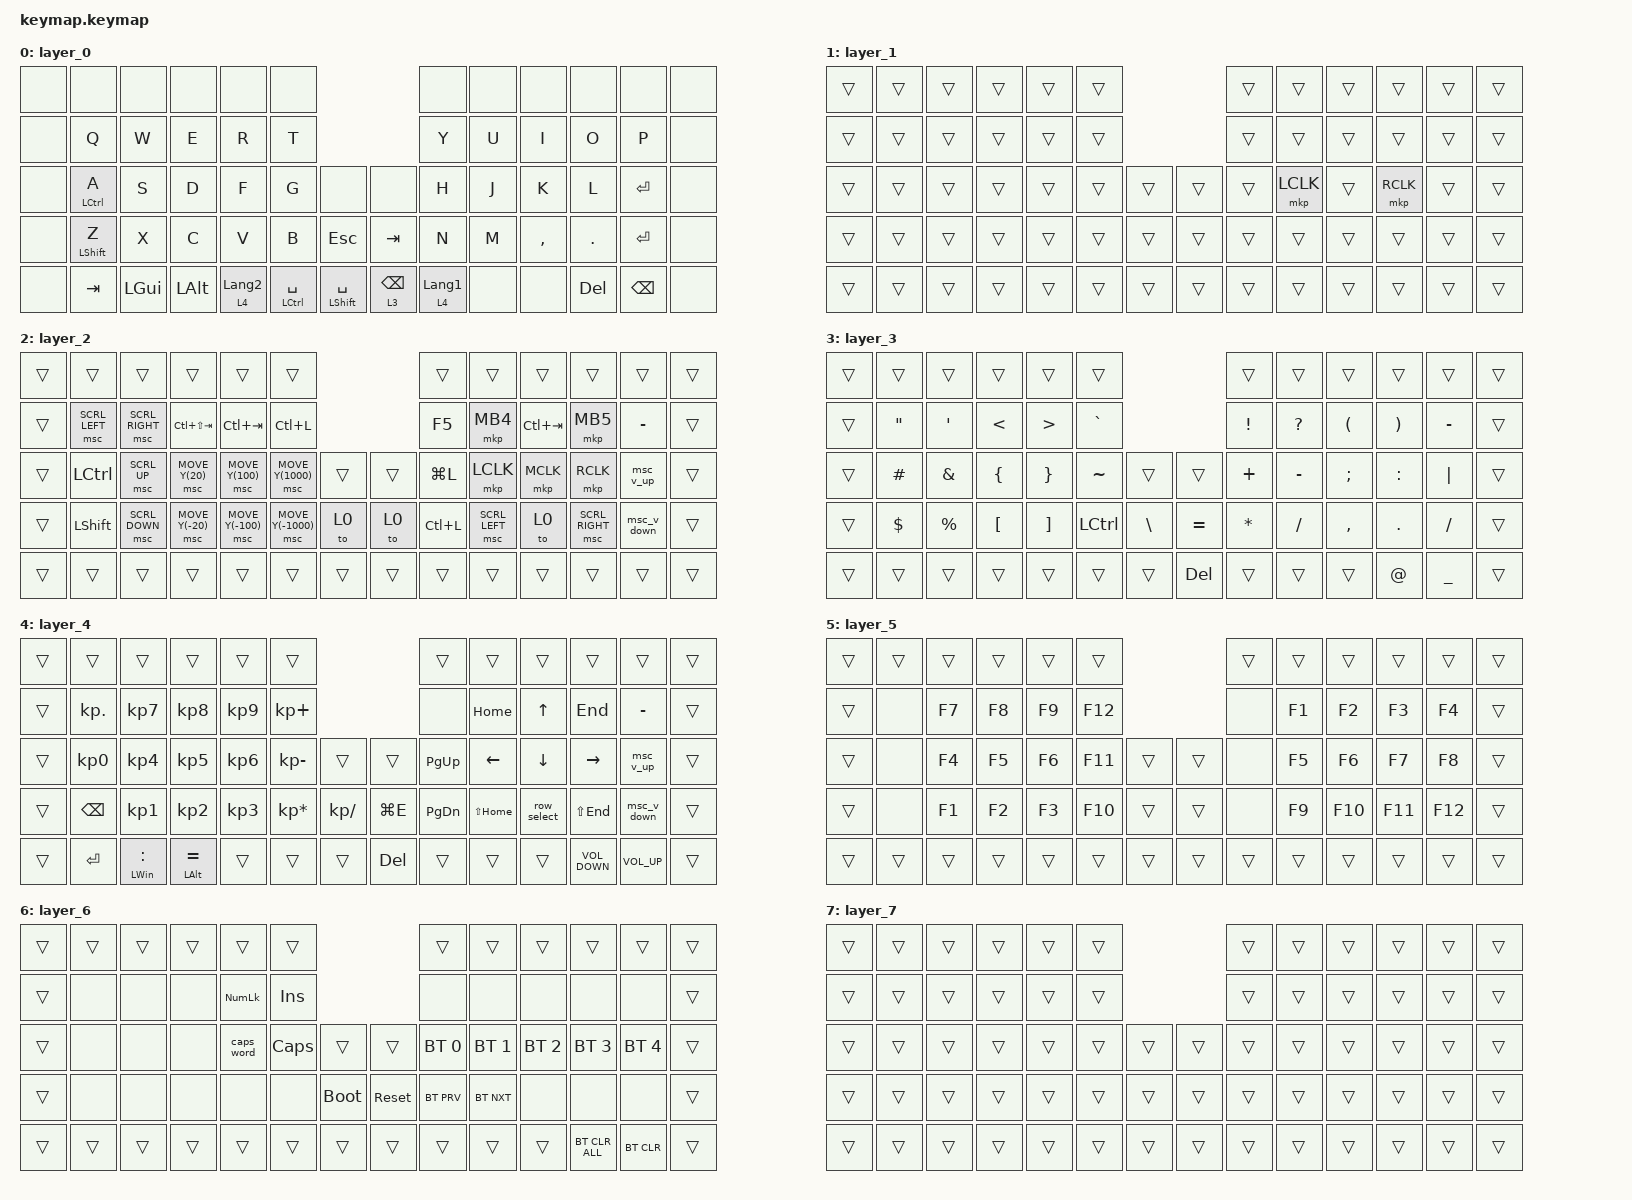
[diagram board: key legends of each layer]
#include <input/processors.dtsi>
#include <dt-bindings/zmk/input_transform.h>
#include <behaviors.dtsi>
#include <dt-bindings/zmk/bt.h>
#include <dt-bindings/zmk/keys.h>
#include <dt-bindings/zmk/pointing.h>

// オートマウスレイヤーの設定

&mkp_input_listener { input-processors = <&zip_temp_layer 1 500>; };

// オートマウスレイヤーの除外キーポジション設定

&zip_temp_layer {
    excluded-positions = <
        // 20 // I
        33 // J
        34 // K
        35 // L
        // 48 // ,
        // 50 // Back Space
        // 56 // space left1
        // 57 // space left2
        // 58 // space left3
    >;
};

// トラックボールの設定

&trackball_listener {
    input-processors =
        <&zip_xy_transform (INPUT_TRANSFORM_X_INVERT | INPUT_TRANSFORM_Y_INVERT)>,
        <&zip_temp_layer 1 2000>;

    // 通常スクロール

    scroll_normal {
        layers = <7>;
        input-processors =
            <&zip_xy_transform (INPUT_TRANSFORM_X_INVERT)>,
            <&zip_xy_to_scroll_mapper>,
            <&zip_scroll_scaler 1 6>;
    };
};

// &ltの誤動作防止設定

&lt {
    tapping-term-ms = <240>;    /* 単発：<msec>待ったらレイヤーにする */
    quick-tap-ms = <200>;       /* 連打：<msec>以内に2回目を叩いたら即スペースにする */
    flavor = "tap-preferred";   /* 判定：時間内ならタップを優先する */
};

// &mtの誤動作防止設定

&mt {
    tapping-term-ms = <240>;    /* 単発：<msec>待ったらレイヤーにする */
    quick-tap-ms = <200>;       /* 連打：<msec>以内に2回目を叩いたら即スペースにする */
    flavor = "tap-preferred";   /* 判定：時間内ならタップを優先する */
};

/ {
    combos {
        compatible = "zmk,combos";

        Function_layer {
            bindings = <&mo 5>;
            key-positions = <57 56>;
        };

        mouse_button {
            bindings = <&mo 2>;
            key-positions = <59 60>;
        };

        bluetooth_layer {
            bindings = <&mo 6>;
            key-positions = <57 58 59>;
        };

        mo_scroll_layer {
            bindings = <&mo 7>;
            key-positions = <34 35>;
            timeout-ms = <75>;
            require-prior-idle-ms = <150>;
            slow-release;
        };
    };

    macros {
        row_select: row_select {
            compatible = "zmk,behavior-macro";
            #binding-cells = <0>;
            bindings = <&kp HOME &kp LS(END)>;
            label = "ROW_SELECT";
        };
    };

    behaviors {
        lt_to: lt_to {
            compatible = "zmk,behavior-hold-tap";
            label = "LT_TO";
            #binding-cells = <2>;
            bindings = <&mo>, <&to>;

            tapping-term-ms = <240>;
            flavor = "balanced";
        };

        hm: hm {
            compatible = "zmk,behavior-hold-tap";
            label = "HM";
            bindings = <&kp>, <&kp>;

            #binding-cells = <2>;
            tapping-term-ms = <280>;
            quick-tap-ms = <175>;
            require-prior-idle-ms = <150>;
            flavor = "tap-preferred";
        };

        msc_v_up: msc_v_up {
            compatible = "zmk,behavior-mod-morph";
            label = "MSC_V_UP";
            bindings = <&msc MOVE_Y(20)>, <&msc MOVE_Y(10)>;

            #binding-cells = <0>;
            mods = <(MOD_LSFT|MOD_RSFT)>;
        };

        msc_v_down: msc_v_down {
            compatible = "zmk,behavior-mod-morph";
            label = "MSC_V_DOWN";
            bindings = <&msc MOVE_Y(-20)>, <&msc MOVE_Y(-10)>;

            #binding-cells = <0>;
            mods = <(MOD_LSFT|MOD_RSFT)>;
        };
    };

    keymap {
        compatible = "zmk,keymap";

        layer_0 {
            bindings = <
&none  &none         &none     &none     &none             &none                                                   &none             &none  &none      &none       &none          &none
&none  &kp Q         &kp W     &kp E     &kp R             &kp T                                                   &kp Y             &kp U  &kp I      &kp O       &kp P          &none
&none  &hm LCTRL A   &kp S     &kp D     &kp F             &kp G            &none                 &none            &kp H             &kp J  &kp K      &kp L       &kp ENTER      &none
&none  &hm LSHIFT Z  &kp X     &kp C     &kp V             &kp B            &kp ESCAPE            &kp TAB          &kp N             &kp M  &kp COMMA  &kp DOT     &kp ENTER      &none
&none  &kp TAB       &kp LGUI  &kp LALT  &lt 4 LANGUAGE_2  &mt LCTRL SPACE  &mt LEFT_SHIFT SPACE  &lt 3 BACKSPACE  &lt 4 LANGUAGE_1  &none  &none      &kp DELETE  &kp BACKSPACE  &none
            >;
        };

        layer_1 {
            bindings = <
&trans  &trans  &trans  &trans  &trans  &trans                  &trans  &trans     &trans  &trans     &trans  &trans
&trans  &trans  &trans  &trans  &trans  &trans                  &trans  &trans     &trans  &trans     &trans  &trans
&trans  &trans  &trans  &trans  &trans  &trans  &trans  &trans  &trans  &mkp LCLK  &trans  &mkp RCLK  &trans  &trans
&trans  &trans  &trans  &trans  &trans  &trans  &trans  &trans  &trans  &trans     &trans  &trans     &trans  &trans
&trans  &trans  &trans  &trans  &trans  &trans  &trans  &trans  &trans  &trans     &trans  &trans     &trans  &trans
            >;
        };

        layer_2 {
            bindings = <
&trans  &trans          &trans           &trans            &trans             &trans                              &trans     &trans          &trans       &trans           &trans       &trans
&trans  &msc SCRL_LEFT  &msc SCRL_RIGHT  &kp LC(LS(TAB))   &kp LC(TAB)        &kp LC(L)                           &kp F5     &mkp MB4        &kp LC(TAB)  &mkp MB5         &kp MINUS    &trans
&trans  &kp LCTRL       &msc SCRL_UP     &msc MOVE_Y(20)   &msc MOVE_Y(100)   &msc MOVE_Y(1000)   &trans  &trans  &kp LG(L)  &mkp LCLK       &mkp MCLK    &mkp RCLK        &msc_v_up    &trans
&trans  &kp LSHIFT      &msc SCRL_DOWN   &msc MOVE_Y(-20)  &msc MOVE_Y(-100)  &msc MOVE_Y(-1000)  &to 0   &to 0   &kp LC(L)  &msc SCRL_LEFT  &to 0        &msc SCRL_RIGHT  &msc_v_down  &trans
&trans  &trans          &trans           &trans            &trans             &trans              &trans  &trans  &trans     &trans          &trans       &trans           &trans       &trans
            >;
        };

        layer_3 {
            bindings = <
&trans  &trans             &trans         &trans            &trans             &trans                                &trans           &trans        &trans                &trans                 &trans          &trans
&trans  &kp DOUBLE_QUOTES  &kp SQT        &kp LESS_THAN     &kp GREATER_THAN   &kp GRAVE                             &kp EXCLAMATION  &kp QUESTION  &kp LEFT_PARENTHESIS  &kp RIGHT_PARENTHESIS  &kp MINUS       &trans
&trans  &kp HASH           &kp AMPERSAND  &kp LEFT_BRACE    &kp RIGHT_BRACE    &kp TILDE  &trans         &trans      &kp PLUS         &kp MINUS     &kp SEMICOLON         &kp COLON              &kp PIPE        &trans
&trans  &kp DOLLAR         &kp PERCENT    &kp LEFT_BRACKET  &kp RIGHT_BRACKET  &kp LCTRL  &kp BACKSLASH  &kp EQUAL   &kp ASTERISK     &kp SLASH     &kp COMMA             &kp PERIOD             &kp SLASH       &trans
&trans  &trans             &trans         &trans            &trans             &trans     &trans         &kp DELETE  &trans           &trans        &trans                &kp AT_SIGN            &kp UNDERSCORE  &trans
            >;
        };

        layer_4 {
            bindings = <
&trans  &trans           &trans              &trans              &trans           &trans                                     &trans         &trans        &trans          &trans             &trans           &trans
&trans  &kp KP_DOT       &kp KP_NUMBER_7     &kp KP_NUMBER_8     &kp KP_NUMBER_9  &kp KP_PLUS                                &none          &kp HOME      &kp UP          &kp END            &kp MINUS        &trans
&trans  &kp KP_NUMBER_0  &kp KP_NUMBER_4     &kp KP_NUMBER_5     &kp KP_NUMBER_6  &kp KP_MINUS     &trans        &trans      &kp PAGE_UP    &kp LEFT      &kp DOWN_ARROW  &kp RIGHT          &msc_v_up        &trans
&trans  &kp BACKSPACE    &kp KP_NUMBER_1     &kp KP_NUMBER_2     &kp KP_NUMBER_3  &kp KP_ASTERISK  &kp KP_SLASH  &kp LG(E)   &kp PAGE_DOWN  &kp LS(HOME)  &row_select     &kp LS(END)        &msc_v_down      &trans
&trans  &kp ENTER        &mt LEFT_WIN COLON  &mt LEFT_ALT EQUAL  &trans           &trans           &trans        &kp DELETE  &trans         &trans        &trans          &kp C_VOLUME_DOWN  &kp C_VOLUME_UP  &trans
            >;
        };

        layer_5 {
            bindings = <
&trans  &trans  &trans  &trans  &trans  &trans                   &trans  &trans  &trans   &trans   &trans   &trans
&trans  &none   &kp F7  &kp F8  &kp F9  &kp F12                  &none   &kp F1  &kp F2   &kp F3   &kp F4   &trans
&trans  &none   &kp F4  &kp F5  &kp F6  &kp F11  &trans  &trans  &none   &kp F5  &kp F6   &kp F7   &kp F8   &trans
&trans  &none   &kp F1  &kp F2  &kp F3  &kp F10  &trans  &trans  &none   &kp F9  &kp F10  &kp F11  &kp F12  &trans
&trans  &trans  &trans  &trans  &trans  &trans   &trans  &trans  &trans  &trans  &trans   &trans   &trans   &trans
            >;
        };

        layer_6 {
            bindings = <
&trans  &trans  &trans  &trans  &trans          &trans                                 &trans        &trans        &trans        &trans          &trans        &trans
&trans  &none   &none   &none   &kp KP_NUMLOCK  &kp INSERT                             &none         &none         &none         &none           &none         &trans
&trans  &none   &none   &none   &caps_word      &kp CAPSLOCK  &trans       &trans      &bt BT_SEL 0  &bt BT_SEL 1  &bt BT_SEL 2  &bt BT_SEL 3    &bt BT_SEL 4  &trans
&trans  &none   &none   &none   &none           &none         &bootloader  &sys_reset  &bt BT_PRV    &bt BT_NXT    &none         &none           &none         &trans
&trans  &trans  &trans  &trans  &trans          &trans        &trans       &trans      &trans        &trans        &trans        &bt BT_CLR_ALL  &bt BT_CLR    &trans
            >;
        };

        layer_7 {
            bindings = <
&trans  &trans  &trans  &trans  &trans  &trans                  &trans  &trans  &trans  &trans  &trans  &trans
&trans  &trans  &trans  &trans  &trans  &trans                  &trans  &trans  &trans  &trans  &trans  &trans
&trans  &trans  &trans  &trans  &trans  &trans  &trans  &trans  &trans  &trans  &trans  &trans  &trans  &trans
&trans  &trans  &trans  &trans  &trans  &trans  &trans  &trans  &trans  &trans  &trans  &trans  &trans  &trans
&trans  &trans  &trans  &trans  &trans  &trans  &trans  &trans  &trans  &trans  &trans  &trans  &trans  &trans
            >;
        };
    };

    conditional_layers { compatible = "zmk,conditional-layers"; };
};
